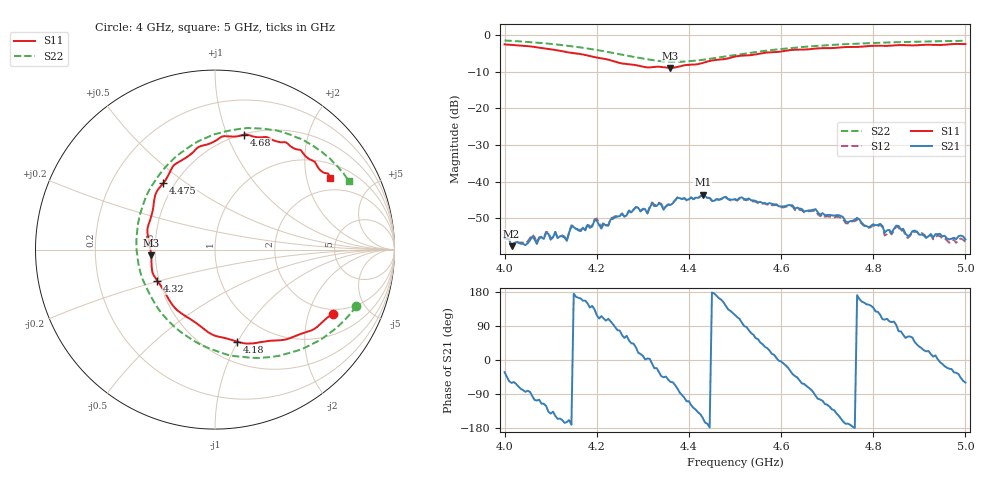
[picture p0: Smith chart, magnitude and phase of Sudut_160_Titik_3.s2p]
# Hz S RI R 50
! CMT, C1220, 16058040, 17.2.0/1
! Date: 15/08/2018 12:39:19
! Data: Format (Calibration Info)
! Freq  S11: Re/Im (F2)  S21: Re/Im (F2)  S12: Re/Im (F2)  S22: Re/Im (F2)
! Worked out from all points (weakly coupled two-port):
!   201 points, 4 GHz to 5 GHz, reference 50 ohm
!   highest |S21| = -43.61 dB at 4.43 GHz (marker M1); lowest = -57.7 dB at 4.015 GHz (marker M2)
!   lowest |S11| = -8.9 dB at 4.36 GHz (marker M3), VSWR 2.11, Z = 23.7 - j1.7 ohm
!   |S11| at or under -10 dB: nowhere
!   |S22| runs from -7.3 to -1.4 dB; largest |S21 - S12| = 0.00026
!   S11 on the Smith chart (normalised r, x): 4 GHz: 1.79, -2.92; 4.18 GHz: 0.70, -1.00; 4.32 GHz: 0.49, -0.20; 4.475 GHz: 0.43, +0.41; 4.68 GHz: 0.51, +1.15; 5 GHz: 1.48, +2.76
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4e9  0.6575 -0.3581  0.0014 -0.000882  0.00144 -0.000879  0.7864 -0.3146
4.015e9  0.6306 -0.3759  0.000644 -0.00114  0.000688 -0.00111  0.7612 -0.3493
4.06e9  0.5309 -0.4526  -0.000156 -0.00176  -9.88e-05 -0.00189  0.6655 -0.4448
4.07e9  0.5045 -0.4607  -0.000415 -0.00134  -0.000406 -0.00141  0.6398 -0.4644
4.09e9  0.4408 -0.4842  -0.00102 -0.00169  -0.00103 -0.00178  0.5852 -0.5035
4.135e9  0.2901 -0.5104  -0.00149 -0.000431  -0.0015 -0.000461  0.4373 -0.5694
4.145e9  0.2498 -0.5161  -0.00242 -0.000383  -0.00248 -0.000495  0.3995 -0.5809
4.17e9  0.1578 -0.5215  -0.00215 0.000934  -0.0022 0.000864  0.3049 -0.599
4.18e9  0.1249 -0.5134  -0.00221 0.00129  -0.00236 0.00126  0.2628 -0.6019
4.21e9  0.0133 -0.4836  -0.000993 0.00205  -0.00106 0.0022  0.1349 -0.5961
4.285e9  -0.2368 -0.3087  0.00373 0.00244  0.00375 0.00247  -0.1881 -0.4612
4.31e9  -0.294 -0.2129  0.00364 0.00025  0.00377 0.000257  -0.2786 -0.3763
4.32e9  -0.3204 -0.176  0.00496 -0.000863  0.00513 -0.000853  -0.3113 -0.3368
4.335e9  -0.3486 -0.1259  0.00427 -0.00265  0.00435 -0.00275  -0.3512 -0.2716
4.36e9  -0.3558 -0.0313  0.00255 -0.00405  0.0025 -0.00414  -0.4071 -0.1556
4.43e9  -0.3436 0.2356  -0.00588 -0.00301  -0.00591 -0.00298  -0.4187 0.1909
4.475e9  -0.2894 0.3702  -0.00537 0.00279  -0.00524 0.00303  -0.3381 0.3771
4.5e9  -0.2432 0.4482  -0.00276 0.00507  -0.00257 0.00505  -0.2771 0.4584
4.67e9  0.1448 0.6352  0.000358 -0.0041  0.000277 -0.00397  0.206 0.6769
4.68e9  0.1625 0.6399  -0.000812 -0.00369  -0.000859 -0.00345  0.2327 0.6755
4.835e9  0.4471 0.5606  -0.000454 0.00214  -0.000453 0.00202  0.5512 0.5752
5e9  0.64 0.4009  0.000821 -0.00139  0.000825 -0.00125  0.7465 0.3818
